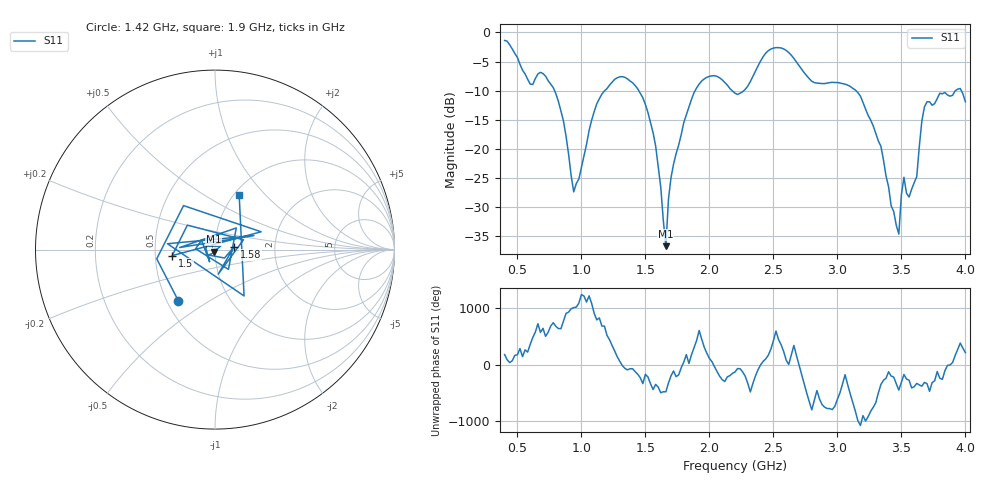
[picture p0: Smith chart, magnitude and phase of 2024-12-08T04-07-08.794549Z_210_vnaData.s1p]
!Created with skrf (http://scikit-rf.org).
# Hz S RI R 50.0
!freq ReS11 ImS11
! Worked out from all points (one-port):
!   181 points, 400 MHz to 4 GHz, reference 50 ohm
!   lowest |S11| = -36.7 dB at 1.66 GHz (marker M1), VSWR 1.03, Z = 49.2 - j1.21 ohm
!   |S11| at or under -10 dB: 790.8 MHz to 1.181 GHz (390.5 MHz wide, 39.6 % of centre); 1.449 GHz to 1.888 GHz (439.1 MHz wide, 26.3 % of centre); 3.146 GHz to 3.921 GHz (774.6 MHz wide, 21.9 % of centre) (the widest 3 of 5)
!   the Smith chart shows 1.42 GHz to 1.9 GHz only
!   S11 on the Smith chart (normalised r, x): 1.42 GHz: 0.57, -0.37; 1.5 GHz: 0.61, -0.04; 1.58 GHz: 1.24, +0.04; 1.9 GHz: 1.05, +0.73
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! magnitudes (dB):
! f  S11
! 400 MHz  -1.4
! 600 MHz  -8.9
! 720 MHz  -7.5
! 860 MHz  -15.2
! 940 MHz  -27.3
! 1.12 GHz  -12.2
! 1.3 GHz  -7.6
! 1.42 GHz  -9.1
! 1.5 GHz  -12.4
! 1.58 GHz  -19.5
! 1.66 GHz  -36.7
! 1.7 GHz  -24.9
! 1.76 GHz  -19.3
! 1.9 GHz  -9.5
! 2.04 GHz  -7.4
! 2.2 GHz  -10.4
! 2.48 GHz  -2.8
! 2.66 GHz  -4.5
! 2.82 GHz  -8.6
! 3.1 GHz  -9.3
! 3.34 GHz  -19.5
! 3.48 GHz  -34.6
! 3.52 GHz  -24.8
! 3.56 GHz  -28.2
! 3.62 GHz  -24.7
! 3.66 GHz  -15.2
! 3.7 GHz  -11.9
! 4 GHz  -11.9
